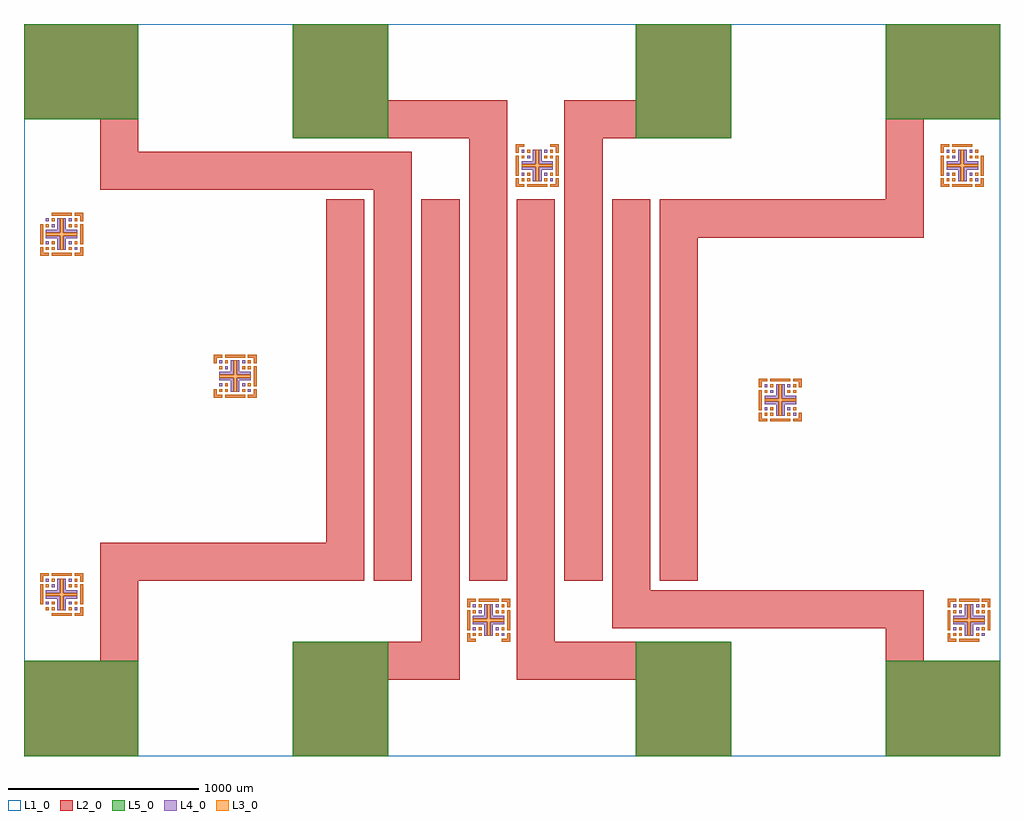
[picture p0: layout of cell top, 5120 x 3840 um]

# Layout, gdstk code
from math import pi, radians
import gdstk
lib = gdstk.Library(unit=1e-6, precision=5e-06)
def R(c, l, rs):  # rectangles x0, y0, x1, y1
    for r in rs: c.add(gdstk.rectangle(r[:2], r[2:], *l))
def P(c, l, *ps):  # polygons
    for p in ps: c.add(gdstk.Polygon(p, *l))
L1_0 = (1, 0)
L2_0 = (2, 0)
L3_0 = (3, 0)
L4_0 = (4, 0)
L5_0 = (5, 0)

align1 = lib.new_cell('align1')

align1_1 = lib.new_cell('align1_1')
r = gdstk.Reference(align1, (-70,0), rotation=pi/2); r.repetition = gdstk.Repetition(1, 1, v1=(0,0), v2=(0,0)); align1_1.add(r)
r = gdstk.Reference(align1, (0,-70), rotation=pi); r.repetition = gdstk.Repetition(1, 1, v1=(0,0), v2=(0,0)); align1_1.add(r)
r = gdstk.Reference(align1, (70,0), rotation=3*pi/2); r.repetition = gdstk.Repetition(1, 1, v1=(0,0), v2=(0,0)); align1_1.add(r)
r = gdstk.Reference(align1, (0,70)); r.repetition = gdstk.Repetition(1, 1, v1=(0,0), v2=(0,0)); align1_1.add(r)

align2 = lib.new_cell('align2')

align3 = lib.new_cell('align3')
r = gdstk.Reference(align1_1, (0,0), rotation=3*pi/2); r.repetition = gdstk.Repetition(1, 1, v1=(0,0), v2=(0,0)); align3.add(r)
r = gdstk.Reference(align2, (0,70)); r.repetition = gdstk.Repetition(1, 1, v1=(0,0), v2=(0,0)); align3.add(r)
r = gdstk.Reference(align2, (-70,0), rotation=pi/2); r.repetition = gdstk.Repetition(1, 1, v1=(0,0), v2=(0,0)); align3.add(r)
r = gdstk.Reference(align2, (0,-70), rotation=pi); r.repetition = gdstk.Repetition(1, 1, v1=(0,0), v2=(0,0)); align3.add(r)
r = gdstk.Reference(align2, (70,0), rotation=3*pi/2); r.repetition = gdstk.Repetition(1, 1, v1=(0,0), v2=(0,0)); align3.add(r)

landing_pad = lib.new_cell('landing_pad')

contact = lib.new_cell('contact')

alignment5nm = lib.new_cell('Alignment5nm')
R(alignment5nm, L3_0, [(-70,-50,35,-35), (-100,-20,-85,-5), (-70,-20,-55,-5), (20,-20,35,-5), (-130,10,-115,115), (-70,10,-55,25), (50,10,65,25), (80,10,95,115), (-100,100,-85,115), (20,100,35,115), (50,100,65,115), (-70,130,-55,145), (50,130,65,145), (-70,160,35,175)])
P(alignment5nm, L3_0, [(50,-50),(50,-35),(80,-35),(80,-5),(95,-5),(95,-50)],
  [(80,130),(80,160),(50,160),(50,175),(95,175),(95,130)],
  [(-130,130),(-130,175),(-85,175),(-85,160),(-115,160),(-115,130)],
  [(-25,-20),(-25,55),(-100,55),(-100,70),(-25,70),(-25,145),(-10,145),(-10,70),(65,70),(65,55),(-10,55),(-10,-20)])
R(alignment5nm, L4_0, [(-70,-50,35,-35), (-100,-20,-85,-5), (50,-20,65,-5), (-130,10,-115,115), (-100,10,-85,25), (-70,10,-55,25), (20,10,35,25), (80,10,95,115), (-70,100,-55,115), (20,100,35,115), (-100,130,-85,145), (20,130,35,145), (50,130,65,145), (-70,160,35,175)])
P(alignment5nm, L4_0, [(50,-50),(50,-35),(80,-35),(80,-5),(95,-5),(95,-50)],
  [(80,130),(80,160),(50,160),(50,175),(95,175),(95,130)],
  [(-130,130),(-130,175),(-85,175),(-85,160),(-115,160),(-115,130)],
  [(-40,-20),(-40,40),(-100,40),(-100,55),(-25,55),(-25,-20)],
  [(-10,-20),(-10,55),(65,55),(65,40),(5,40),(5,-20)],
  [(-100,70),(-100,85),(-40,85),(-40,145),(-25,145),(-25,70)],
  [(-10,70),(-10,145),(5,145),(5,85),(65,85),(65,70)])

top = lib.new_cell('top')
R(top, L1_0, [(0,0,5120,3840)])
R(top, L2_0, [(0,0,600,500), (1410,0,1910,600), (3210,0,3710,600), (4520,0,5120,500), (1410,3240,1910,3840), (3210,3240,3710,3840), (0,3340,600,3840), (4520,3340,5120,3840)])
P(top, L2_0, [(400,500),(400,1120),(1585,1120),(1585,2920),(1785,2920),(1785,920),(600,920),(600,500)],
  [(1835,920),(1835,2970),(400,2970),(400,3340),(600,3340),(600,3170),(2035,3170),(2035,920)],
  [(2335,920),(2335,3240),(1910,3240),(1910,3440),(2535,3440),(2535,920)],
  [(1910,400),(1910,600),(2085,600),(2085,2920),(2285,2920),(2285,400)],
  [(2585,400),(2585,2920),(2785,2920),(2785,600),(3210,600),(3210,400)],
  [(2835,920),(2835,3440),(3210,3440),(3210,3240),(3035,3240),(3035,920)],
  [(4520,500),(4520,670),(3085,670),(3085,2920),(3285,2920),(3285,870),(4720,870),(4720,500)],
  [(3335,920),(3335,2920),(4520,2920),(4520,3340),(4720,3340),(4720,2720),(3535,2720),(3535,920)])
R(top, L3_0, [(4905,600,5010,615), (2355,630,2370,645), (2385,630,2400,645), (2475,630,2490,645), (4875,630,4890,645), (4905,630,4920,645), (4995,630,5010,645), (2325,660,2340,765), (2385,660,2400,675), (2505,660,2520,675), (2535,660,2550,765), (4845,660,4860,765), (4905,660,4920,675), (5025,660,5040,675), (5055,660,5070,765), (2355,750,2370,765), (2475,750,2490,765), (2505,750,2520,765), (4875,750,4890,765), (4995,750,5010,765), (5025,750,5040,765), (2385,780,2400,795), (2505,780,2520,795), (4905,780,4920,795), (5025,780,5040,795), (2385,810,2490,825), (4905,810,5010,825), (3915,1755,4020,1770), (3885,1785,3900,1800), (3915,1785,3930,1800), (4005,1785,4020,1800), (3855,1815,3870,1920), (3915,1815,3930,1830), (4035,1815,4050,1830), (1055,1880,1160,1895), (3885,1905,3900,1920), (4005,1905,4020,1920), (4035,1905,4050,1920), (1025,1910,1040,1925), (1055,1910,1070,1925), (1145,1910,1160,1925), (3915,1935,3930,1950), (4035,1935,4050,1950), (1055,1940,1070,1955), (1175,1940,1190,1955), (1205,1940,1220,2045), (3915,1965,4020,1980), (1025,2030,1040,2045), (1145,2030,1160,2045), (1175,2030,1190,2045), (1055,2060,1070,2075), (1175,2060,1190,2075), (1055,2090,1160,2105), (145,2625,250,2640), (115,2655,130,2670), (145,2655,160,2670), (235,2655,250,2670), (85,2685,100,2790), (145,2685,160,2700), (265,2685,280,2700), (295,2685,310,2790), (115,2775,130,2790), (235,2775,250,2790), (265,2775,280,2790), (145,2805,160,2820), (265,2805,280,2820), (145,2835,250,2850), (2640,2985,2745,3000), (4870,2985,4975,3000), (2610,3015,2625,3030), (2640,3015,2655,3030), (2730,3015,2745,3030), (4840,3015,4855,3030), (4870,3015,4885,3030), (4960,3015,4975,3030), (2580,3045,2595,3150), (2640,3045,2655,3060), (2760,3045,2775,3060), (2790,3045,2805,3150), (4810,3045,4825,3150), (4870,3045,4885,3060), (4990,3045,5005,3060), (5020,3045,5035,3150), (2610,3135,2625,3150), (2730,3135,2745,3150), (2760,3135,2775,3150), (4840,3135,4855,3150), (4960,3135,4975,3150), (4990,3135,5005,3150), (2640,3165,2655,3180), (2760,3165,2775,3180), (4870,3165,4885,3180), (4990,3165,5005,3180), (4870,3195,4975,3210)])
P(top, L3_0, [(1175,1880),(1175,1895),(1205,1895),(1205,1925),(1220,1925),(1220,1880)],
  [(1205,2060),(1205,2090),(1175,2090),(1175,2105),(1220,2105),(1220,2060)],
  [(995,2060),(995,2105),(1040,2105),(1040,2090),(1010,2090),(1010,2060)],
  [(995,1880),(995,1925),(1010,1925),(1010,1895),(1040,1895),(1040,1880)],
  [(1100,1910),(1100,1985),(1025,1985),(1025,2000),(1100,2000),(1100,2075),(1115,2075),(1115,2000),(1190,2000),(1190,1985),(1115,1985),(1115,1910)],
  [(2760,2985),(2760,3000),(2790,3000),(2790,3030),(2805,3030),(2805,2985)],
  [(2790,3165),(2790,3195),(2760,3195),(2760,3210),(2805,3210),(2805,3165)],
  [(265,2625),(265,2640),(295,2640),(295,2670),(310,2670),(310,2625)],
  [(295,2805),(295,2835),(265,2835),(265,2850),(310,2850),(310,2805)],
  [(85,2625),(85,2670),(100,2670),(100,2640),(130,2640),(130,2625)],
  [(190,2655),(190,2730),(115,2730),(115,2745),(190,2745),(190,2820),(205,2820),(205,2745),(280,2745),(280,2730),(205,2730),(205,2655)],
  [(2580,3165),(2580,3210),(2625,3210),(2625,3195),(2595,3195),(2595,3165)],
  [(2580,2985),(2580,3030),(2595,3030),(2595,3000),(2625,3000),(2625,2985)],
  [(2685,3015),(2685,3090),(2610,3090),(2610,3105),(2685,3105),(2685,3180),(2700,3180),(2700,3105),(2775,3105),(2775,3090),(2700,3090),(2700,3015)],
  [(4990,2985),(4990,3000),(5020,3000),(5020,3030),(5035,3030),(5035,2985)],
  [(4810,3165),(4810,3210),(4855,3210),(4855,3195),(4825,3195),(4825,3165)],
  [(4810,2985),(4810,3030),(4825,3030),(4825,3000),(4855,3000),(4855,2985)],
  [(4915,3015),(4915,3090),(4840,3090),(4840,3105),(4915,3105),(4915,3180),(4930,3180),(4930,3105),(5005,3105),(5005,3090),(4930,3090),(4930,3015)],
  [(4035,1755),(4035,1770),(4065,1770),(4065,1800),(4080,1800),(4080,1755)],
  [(4065,1935),(4065,1965),(4035,1965),(4035,1980),(4080,1980),(4080,1935)],
  [(3855,1935),(3855,1980),(3900,1980),(3900,1965),(3870,1965),(3870,1935)],
  [(3855,1755),(3855,1800),(3870,1800),(3870,1770),(3900,1770),(3900,1755)],
  [(3960,1785),(3960,1860),(3885,1860),(3885,1875),(3960,1875),(3960,1950),(3975,1950),(3975,1875),(4050,1875),(4050,1860),(3975,1860),(3975,1785)],
  [(5055,780),(5055,810),(5025,810),(5025,825),(5070,825),(5070,780)],
  [(4845,780),(4845,825),(4890,825),(4890,810),(4860,810),(4860,780)],
  [(4845,600),(4845,645),(4860,645),(4860,615),(4890,615),(4890,600)],
  [(4950,630),(4950,705),(4875,705),(4875,720),(4950,720),(4950,795),(4965,795),(4965,720),(5040,720),(5040,705),(4965,705),(4965,630)],
  [(2505,600),(2505,615),(2535,615),(2535,645),(2550,645),(2550,600)],
  [(2535,780),(2535,810),(2505,810),(2505,825),(2550,825),(2550,780)],
  [(2325,780),(2325,825),(2370,825),(2370,810),(2340,810),(2340,780)],
  [(2325,600),(2325,645),(2340,645),(2340,615),(2370,615),(2370,600)],
  [(2430,630),(2430,705),(2355,705),(2355,720),(2430,720),(2430,795),(2445,795),(2445,720),(2520,720),(2520,705),(2445,705),(2445,630)])
R(top, L4_0, [(4905,600,5010,615), (2355,630,2370,645), (2505,630,2520,645), (4875,630,4890,645), (5025,630,5040,645), (2325,660,2340,765), (2355,660,2370,675), (2385,660,2400,675), (2475,660,2490,675), (2535,660,2550,765), (4845,660,4860,765), (4875,660,4890,675), (4905,660,4920,675), (4995,660,5010,675), (5055,660,5070,765), (2385,750,2400,765), (2475,750,2490,765), (4905,750,4920,765), (4995,750,5010,765), (2355,780,2370,795), (2475,780,2490,795), (2505,780,2520,795), (4875,780,4890,795), (4995,780,5010,795), (5025,780,5040,795), (2385,810,2490,825), (4905,810,5010,825), (3915,1755,4020,1770), (3885,1785,3900,1800), (4035,1785,4050,1800), (3855,1815,3870,1920), (3885,1815,3900,1830), (3915,1815,3930,1830), (4005,1815,4020,1830), (1055,1880,1160,1895), (3915,1905,3930,1920), (4005,1905,4020,1920), (1025,1910,1040,1925), (1175,1910,1190,1925), (3885,1935,3900,1950), (4005,1935,4020,1950), (4035,1935,4050,1950), (1025,1940,1040,1955), (1055,1940,1070,1955), (1145,1940,1160,1955), (1205,1940,1220,2045), (3915,1965,4020,1980), (1055,2030,1070,2045), (1145,2030,1160,2045), (1025,2060,1040,2075), (1145,2060,1160,2075), (1175,2060,1190,2075), (1055,2090,1160,2105), (145,2625,250,2640), (115,2655,130,2670), (265,2655,280,2670), (85,2685,100,2790), (115,2685,130,2700), (145,2685,160,2700), (235,2685,250,2700), (295,2685,310,2790), (145,2775,160,2790), (235,2775,250,2790), (115,2805,130,2820), (235,2805,250,2820), (265,2805,280,2820), (145,2835,250,2850), (2640,2985,2745,3000), (4870,2985,4975,3000), (2610,3015,2625,3030), (2760,3015,2775,3030), (4840,3015,4855,3030), (4990,3015,5005,3030), (2580,3045,2595,3150), (2610,3045,2625,3060), (2640,3045,2655,3060), (2730,3045,2745,3060), (2790,3045,2805,3150), (4810,3045,4825,3150), (4840,3045,4855,3060), (4870,3045,4885,3060), (4960,3045,4975,3060), (5020,3045,5035,3150), (2640,3135,2655,3150), (2730,3135,2745,3150), (4870,3135,4885,3150), (4960,3135,4975,3150), (2610,3165,2625,3180), (2730,3165,2745,3180), (2760,3165,2775,3180), (4840,3165,4855,3180), (4960,3165,4975,3180), (4990,3165,5005,3180), (4870,3195,4975,3210)])
P(top, L4_0, [(1175,1880),(1175,1895),(1205,1895),(1205,1925),(1220,1925),(1220,1880)],
  [(1205,2060),(1205,2090),(1175,2090),(1175,2105),(1220,2105),(1220,2060)],
  [(995,2060),(995,2105),(1040,2105),(1040,2090),(1010,2090),(1010,2060)],
  [(995,1880),(995,1925),(1010,1925),(1010,1895),(1040,1895),(1040,1880)],
  [(1085,1910),(1085,1970),(1025,1970),(1025,1985),(1100,1985),(1100,1910)],
  [(1115,1910),(1115,1985),(1190,1985),(1190,1970),(1130,1970),(1130,1910)],
  [(1025,2000),(1025,2015),(1085,2015),(1085,2075),(1100,2075),(1100,2000)],
  [(1115,2000),(1115,2075),(1130,2075),(1130,2015),(1190,2015),(1190,2000)],
  [(2760,2985),(2760,3000),(2790,3000),(2790,3030),(2805,3030),(2805,2985)],
  [(2790,3165),(2790,3195),(2760,3195),(2760,3210),(2805,3210),(2805,3165)],
  [(2580,3165),(2580,3210),(2625,3210),(2625,3195),(2595,3195),(2595,3165)],
  [(2580,2985),(2580,3030),(2595,3030),(2595,3000),(2625,3000),(2625,2985)],
  [(2670,3015),(2670,3075),(2610,3075),(2610,3090),(2685,3090),(2685,3015)],
  [(2700,3015),(2700,3090),(2775,3090),(2775,3075),(2715,3075),(2715,3015)],
  [(2610,3105),(2610,3120),(2670,3120),(2670,3180),(2685,3180),(2685,3105)],
  [(2700,3105),(2700,3180),(2715,3180),(2715,3120),(2775,3120),(2775,3105)],
  [(4990,2985),(4990,3000),(5020,3000),(5020,3030),(5035,3030),(5035,2985)],
  [(4810,3165),(4810,3210),(4855,3210),(4855,3195),(4825,3195),(4825,3165)],
  [(4810,2985),(4810,3030),(4825,3030),(4825,3000),(4855,3000),(4855,2985)],
  [(4900,3015),(4900,3075),(4840,3075),(4840,3090),(4915,3090),(4915,3015)],
  [(4930,3015),(4930,3090),(5005,3090),(5005,3075),(4945,3075),(4945,3015)],
  [(4840,3105),(4840,3120),(4900,3120),(4900,3180),(4915,3180),(4915,3105)],
  [(4930,3105),(4930,3180),(4945,3180),(4945,3120),(5005,3120),(5005,3105)],
  [(4035,1755),(4035,1770),(4065,1770),(4065,1800),(4080,1800),(4080,1755)],
  [(4065,1935),(4065,1965),(4035,1965),(4035,1980),(4080,1980),(4080,1935)],
  [(3855,1935),(3855,1980),(3900,1980),(3900,1965),(3870,1965),(3870,1935)],
  [(3855,1755),(3855,1800),(3870,1800),(3870,1770),(3900,1770),(3900,1755)],
  [(265,2625),(265,2640),(295,2640),(295,2670),(310,2670),(310,2625)],
  [(295,2805),(295,2835),(265,2835),(265,2850),(310,2850),(310,2805)],
  [(85,2625),(85,2670),(100,2670),(100,2640),(130,2640),(130,2625)],
  [(175,2655),(175,2715),(115,2715),(115,2730),(190,2730),(190,2655)],
  [(205,2655),(205,2730),(280,2730),(280,2715),(220,2715),(220,2655)],
  [(115,2745),(115,2760),(175,2760),(175,2820),(190,2820),(190,2745)],
  [(205,2745),(205,2820),(220,2820),(220,2760),(280,2760),(280,2745)],
  [(3945,1785),(3945,1845),(3885,1845),(3885,1860),(3960,1860),(3960,1785)],
  [(3975,1785),(3975,1860),(4050,1860),(4050,1845),(3990,1845),(3990,1785)],
  [(3885,1875),(3885,1890),(3945,1890),(3945,1950),(3960,1950),(3960,1875)],
  [(3975,1875),(3975,1950),(3990,1950),(3990,1890),(4050,1890),(4050,1875)],
  [(5055,780),(5055,810),(5025,810),(5025,825),(5070,825),(5070,780)],
  [(4845,780),(4845,825),(4890,825),(4890,810),(4860,810),(4860,780)],
  [(4845,600),(4845,645),(4860,645),(4860,615),(4890,615),(4890,600)],
  [(4935,630),(4935,690),(4875,690),(4875,705),(4950,705),(4950,630)],
  [(4965,630),(4965,705),(5040,705),(5040,690),(4980,690),(4980,630)],
  [(4875,720),(4875,735),(4935,735),(4935,795),(4950,795),(4950,720)],
  [(4965,720),(4965,795),(4980,795),(4980,735),(5040,735),(5040,720)],
  [(2505,600),(2505,615),(2535,615),(2535,645),(2550,645),(2550,600)],
  [(2535,780),(2535,810),(2505,810),(2505,825),(2550,825),(2550,780)],
  [(2325,780),(2325,825),(2370,825),(2370,810),(2340,810),(2340,780)],
  [(2325,600),(2325,645),(2340,645),(2340,615),(2370,615),(2370,600)],
  [(2415,630),(2415,690),(2355,690),(2355,705),(2430,705),(2430,630)],
  [(2445,630),(2445,705),(2520,705),(2520,690),(2460,690),(2460,630)],
  [(2355,720),(2355,735),(2415,735),(2415,795),(2430,795),(2430,720)],
  [(2445,720),(2445,795),(2460,795),(2460,735),(2520,735),(2520,720)])
R(top, L5_0, [(0,0,600,500), (1410,0,1910,600), (3210,0,3710,600), (4520,0,5120,500), (1410,3240,1910,3840), (3210,3240,3710,3840), (0,3340,600,3840), (4520,3340,5120,3840)])
r = gdstk.Reference(align3, (4945,3710)); r.repetition = gdstk.Repetition(1, 1, v1=(0,0), v2=(0,0)); top.add(r)
r = gdstk.Reference(align3, (4965,765)); r.repetition = gdstk.Repetition(1, 1, v1=(0,0), v2=(0,0)); top.add(r)
r = gdstk.Reference(align3, (150,3625)); r.repetition = gdstk.Repetition(1, 1, v1=(0,0), v2=(0,0)); top.add(r)
r = gdstk.Reference(align3, (130,600)); r.repetition = gdstk.Repetition(1, 1, v1=(0,0), v2=(0,0)); top.add(r)
r = gdstk.Reference(align3, (2280,375)); r.repetition = gdstk.Repetition(1, 1, v1=(0,0), v2=(0,0)); top.add(r)
r = gdstk.Reference(align3, (2670,3025)); r.repetition = gdstk.Repetition(1, 1, v1=(0,0), v2=(0,0)); top.add(r)
r = gdstk.Reference(landing_pad, (500,3335)); r.repetition = gdstk.Repetition(1, 1, v1=(0,0), v2=(0,0)); top.add(r)
r = gdstk.Reference(landing_pad, (1670,3335)); r.repetition = gdstk.Repetition(1, 1, v1=(0,0), v2=(0,0)); top.add(r)
r = gdstk.Reference(landing_pad, (3355,3335)); r.repetition = gdstk.Repetition(1, 1, v1=(0,0), v2=(0,0)); top.add(r)
r = gdstk.Reference(landing_pad, (530,530)); r.repetition = gdstk.Repetition(1, 1, v1=(0,0), v2=(0,0)); top.add(r)
r = gdstk.Reference(landing_pad, (4500,530)); r.repetition = gdstk.Repetition(1, 1, v1=(0,0), v2=(0,0)); top.add(r)
r = gdstk.Reference(landing_pad, (1670,535)); r.repetition = gdstk.Repetition(1, 1, v1=(0,0), v2=(0,0)); top.add(r)
r = gdstk.Reference(landing_pad, (3365,520)); r.repetition = gdstk.Repetition(1, 1, v1=(0,0), v2=(0,0)); top.add(r)
r = gdstk.Reference(landing_pad, (4505,3310)); r.repetition = gdstk.Repetition(1, 1, v1=(0,0), v2=(0,0)); top.add(r)
top.add(gdstk.Reference(contact, (340,305)))
top.add(gdstk.Reference(contact, (1785,350)))
top.add(gdstk.Reference(contact, (3265,295)))
top.add(gdstk.Reference(contact, (4870,305)))
top.add(gdstk.Reference(contact, (4870,3520)))
top.add(gdstk.Reference(contact, (3230,3465)))
top.add(gdstk.Reference(contact, (1655,3510)))
top.add(gdstk.Reference(contact, (480,3500)))
top.add(gdstk.Reference(alignment5nm, (215,785)))

lib.write_gds('top.gds')
